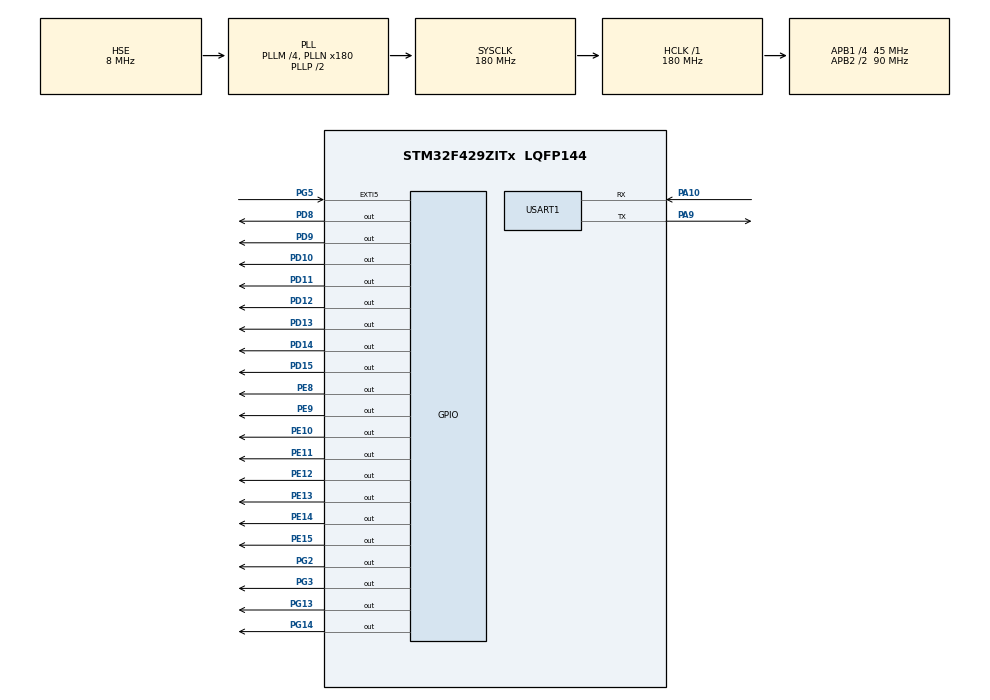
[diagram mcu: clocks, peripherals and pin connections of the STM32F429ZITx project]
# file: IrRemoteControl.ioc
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Mcu.Family=STM32F4
Mcu.Name=STM32F429ZITx
Mcu.Package=LQFP144
NVIC.EXTI9_5_IRQn=true\:0\:0\:false\:false\:true\:true\:true\:true
NVIC.PriorityGroup=NVIC_PRIORITYGROUP_4
NVIC.TIM6_DAC_IRQn=true\:0\:0\:false\:false\:true\:true\:true\:true
PA10.Mode=Asynchronous
PA10.Signal=USART1_RX
PA9.Mode=Asynchronous
PA9.Signal=USART1_TX
PD10.Signal=GPIO_Output
PD11.Signal=GPIO_Output
PD12.Signal=GPIO_Output
PD13.Signal=GPIO_Output
PD14.Signal=GPIO_Output
PD15.Signal=GPIO_Output
PD8.Signal=GPIO_Output
PD9.Signal=GPIO_Output
PE10.Signal=GPIO_Output
PE11.Signal=GPIO_Output
PE12.Signal=GPIO_Output
PE13.Signal=GPIO_Output
PE14.Signal=GPIO_Output
PE15.Signal=GPIO_Output
PE8.Signal=GPIO_Output
PE9.Signal=GPIO_Output
PG13.Signal=GPIO_Output
PG14.Signal=GPIO_Output
PG2.Signal=GPIO_Output
PG3.Signal=GPIO_Output
PG5.GPIO_ModeDefaultEXTI=GPIO_MODE_IT_FALLING
PG5.GPIO_PuPd=GPIO_PULLUP
PG5.Signal=GPXTI5
PH0/OSC_IN.Mode=HSE-External-Oscillator
PH0/OSC_IN.Signal=RCC_OSC_IN
PH1/OSC_OUT.Mode=HSE-External-Oscillator
PH1/OSC_OUT.Signal=RCC_OSC_OUT
ProjectManager.HeapSize=0x200
ProjectManager.StackSize=0x400
ProjectManager.TargetToolchain=STM32CubeIDE
RCC.48MHZClocksFreq_Value=90000000
RCC.AHBFreq_Value=180000000
RCC.APB1CLKDivider=RCC_HCLK_DIV4
RCC.APB1Freq_Value=45000000
RCC.APB1TimFreq_Value=90000000
RCC.APB2CLKDivider=RCC_HCLK_DIV2
RCC.APB2Freq_Value=90000000
RCC.APB2TimFreq_Value=180000000
RCC.CortexFreq_Value=180000000
RCC.HCLKFreq_Value=180000000
RCC.HSE_VALUE=8000000
RCC.HSI_VALUE=16000000
RCC.LSE_VALUE=32768
RCC.PLLM=4
RCC.PLLN=180
RCC.PLLSourceVirtual=RCC_PLLSOURCE_HSE
RCC.SYSCLKFreq_VALUE=180000000
RCC.SYSCLKSource=RCC_SYSCLKSOURCE_PLLCLK
RCC.VCOOutputFreq_Value=360000000
TIM6.Period=99
TIM6.Prescaler=89
USART1.VirtualMode=VM_ASYNC
VP_TIM6_VS_ClockSourceINT.Mode=Enable_Timer
board=custom

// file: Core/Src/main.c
/* USER CODE BEGIN Header */
/**
  ******************************************************************************
  * @file           : main.c
  * @brief          : Main program body
  ******************************************************************************
  * @attention
  *
  * Copyright (c) 2025 STMicroelectronics.
  * All rights reserved.
  *
  * This software is licensed under terms that can be found in the LICENSE file
  * in the root directory of this software component.
  * If no LICENSE file comes with this software, it is provided AS-IS.
  *
  ******************************************************************************
  */
/* USER CODE END Header */
#include "main.h"

/* USER CODE BEGIN Includes */
#include "irda.h"
#include "stdio.h"
#include "string.h"
#include "7seg.h"

/* USER CODE END Includes */

TIM_HandleTypeDef htim6;

UART_HandleTypeDef huart1;

/* USER CODE BEGIN PV */
int tim6_count;
unsigned char LED_Value =1;
extern unsigned char send;
/* USER CODE END PV */

void SystemClock_Config(void);
static void MX_GPIO_Init(void);
static void MX_TIM6_Init(void);
static void MX_USART1_UART_Init(void);

/* USER CODE BEGIN 0 */
extern int command_ok;
extern unsigned char irda_cmd[4];
/* USER CODE END 0 */

void DisplayLEDsRaw(){
	if (LED_Value & 0x80)
		HAL_GPIO_WritePin(GPIOD, GPIO_PIN_15, GPIO_PIN_SET);
	else
		HAL_GPIO_WritePin(GPIOD, GPIO_PIN_15, GPIO_PIN_RESET);
	if (LED_Value & 0x40)
		HAL_GPIO_WritePin(GPIOD, GPIO_PIN_14, GPIO_PIN_SET);
	else
		HAL_GPIO_WritePin(GPIOD, GPIO_PIN_14, GPIO_PIN_RESET);
	if (LED_Value & 0x20)
		HAL_GPIO_WritePin(GPIOD, GPIO_PIN_13, GPIO_PIN_SET);
	else
		HAL_GPIO_WritePin(GPIOD, GPIO_PIN_13, GPIO_PIN_RESET);
	if (LED_Value & 0x10)
		HAL_GPIO_WritePin(GPIOD, GPIO_PIN_12, GPIO_PIN_SET);
	else
		HAL_GPIO_WritePin(GPIOD, GPIO_PIN_12, GPIO_PIN_RESET);
	if (LED_Value & 0x8)
		HAL_GPIO_WritePin(GPIOD, GPIO_PIN_11, GPIO_PIN_SET);
	else
		HAL_GPIO_WritePin(GPIOD, GPIO_PIN_11, GPIO_PIN_RESET);
	if (LED_Value & 0x4)
		HAL_GPIO_WritePin(GPIOD, GPIO_PIN_10, GPIO_PIN_SET);
	else
		HAL_GPIO_WritePin(GPIOD, GPIO_PIN_10, GPIO_PIN_RESET);
	if (LED_Value & 0x2)
		HAL_GPIO_WritePin(GPIOD, GPIO_PIN_9, GPIO_PIN_SET);
	else
		HAL_GPIO_WritePin(GPIOD, GPIO_PIN_9, GPIO_PIN_RESET);
	if (LED_Value & 0x1)
		HAL_GPIO_WritePin(GPIOD, GPIO_PIN_8, GPIO_PIN_SET);
	else
		HAL_GPIO_WritePin(GPIOD, GPIO_PIN_8, GPIO_PIN_RESET);
}

void DisplayLEDs(int mode)
{
	switch (mode){
		case 1:
			LED_Value = (LED_Value >> 1);
			if (LED_Value == 0) LED_Value = 0x80;
			break;

		case 2:
			LED_Value = (LED_Value << 1);
			if (LED_Value == 0) LED_Value = 0x01;
			break;

		case 3:
		{	LED_Value = 1;

			static int flash_step = 0;
			if (flash_step % 2 == 0)
				LED_Value = 0xFF;
			else
				LED_Value = 0x00;

			DisplayLEDsRaw();
			HAL_Delay(200);
			flash_step++;

			if (flash_step >= 4) {
				flash_step = 0;
			}
			return;
		}

		case 4:
		{
			LED_Value = 1;

			static int bumper_step = 0;
			uint8_t patterns[] = {
					0b10000001,
					0b01000010,
					0b00100100,
					0b00011000,
					0b00100100,
					0b01000010,
					0b10000001
					};

			LED_Value = patterns[bumper_step++];
			if (bumper_step >= sizeof(patterns)) bumper_step = 0;
			break;
		}
	}

	DisplayLEDsRaw();
}

int main(void)
{

  /* MCU Configuration--------------------------------------------------------*/

  /* Reset of all peripherals, Initializes the Flash interface and the Systick. */
  HAL_Init();

  /* Configure the system clock */
  SystemClock_Config();

  /* Initialize all configured peripherals */
  MX_GPIO_Init();
  MX_TIM6_Init();
  MX_USART1_UART_Init();
  /* USER CODE BEGIN 2 */
  HAL_TIM_Base_Start_IT(&htim6);
  command_ok = 0;
  tim6_count = 0;

  /* USER CODE END 2 */

  /* Infinite loop */
  /* USER CODE BEGIN WHILE */
  while (1)
  {
	  //turn off 2 LEDs
	  HAL_GPIO_TogglePin(GPIOG, GPIO_PIN_13);
	  //delay
	  HAL_Delay(5);

	  if (command_ok)
	  {
		  char buf[256];
		  IrDecode();
		  sprintf(buf, "%02x%02x%02x%02x\n", irda_cmd[0], irda_cmd[1], irda_cmd[2], irda_cmd[3]);
		  HAL_UART_Transmit(&huart1, (const uint8_t *)buf, strlen(buf), 2);
		  command_ok = 0;
	  }

	  send =irda_cmd[2];

	  Run7SegDisplay();

    /* USER CODE END WHILE */

	  static int current_mode = 0;
	  static int repeat_count = 0;

	  switch(irda_cmd[2]) {
	  	case 0x45:  // Mode 1
	  		if (current_mode != 1) {
	  			current_mode = 1;
	  			LED_Value = 0x80; // start from left
	  		}
	  		break;

	  	case 0x46:  // Mode 2
	  		if (current_mode != 2) {
	  			current_mode = 2;
	  			LED_Value = 0x01; // start from right
	  		}
	  		break;

	  	case 0x47:  // Mode 3 (Blink)
	  		if (current_mode != 3) {
	  			current_mode = 3;
	  		}
	  		break;

	  	case 0x44:  // Mode 4 (Bumper)
	  		if (current_mode != 4) {
	  			current_mode = 4;
	  		}
	  		break;
	  }
	  DisplayLEDs(current_mode);
	  HAL_Delay(100);  // control animation speed

//	  Set7SegHexByte(send);

  }
}

void SystemClock_Config(void)
{
  RCC_OscInitTypeDef RCC_OscInitStruct = {0};
  RCC_ClkInitTypeDef RCC_ClkInitStruct = {0};

  /** Configure the main internal regulator output voltage
  */
  __HAL_RCC_PWR_CLK_ENABLE();
  __HAL_PWR_VOLTAGESCALING_CONFIG(PWR_REGULATOR_VOLTAGE_SCALE1);

  /** Initializes the RCC Oscillators according to the specified parameters
  * in the RCC_OscInitTypeDef structure.
  */
  RCC_OscInitStruct.OscillatorType = RCC_OSCILLATORTYPE_HSE;
  RCC_OscInitStruct.HSEState = RCC_HSE_ON;
  RCC_OscInitStruct.PLL.PLLState = RCC_PLL_ON;
  RCC_OscInitStruct.PLL.PLLSource = RCC_PLLSOURCE_HSE;
  RCC_OscInitStruct.PLL.PLLM = 4;
  RCC_OscInitStruct.PLL.PLLN = 180;
  RCC_OscInitStruct.PLL.PLLP = RCC_PLLP_DIV2;
  RCC_OscInitStruct.PLL.PLLQ = 4;
  if (HAL_RCC_OscConfig(&RCC_OscInitStruct) != HAL_OK)
  {
    Error_Handler();
  }

  /** Activate the Over-Drive mode
  */
  if (HAL_PWREx_EnableOverDrive() != HAL_OK)
  {
    Error_Handler();
  }

  /** Initializes the CPU, AHB and APB buses clocks
  */
  RCC_ClkInitStruct.ClockType = RCC_CLOCKTYPE_HCLK|RCC_CLOCKTYPE_SYSCLK
                              |RCC_CLOCKTYPE_PCLK1|RCC_CLOCKTYPE_PCLK2;
  RCC_ClkInitStruct.SYSCLKSource = RCC_SYSCLKSOURCE_PLLCLK;
  RCC_ClkInitStruct.AHBCLKDivider = RCC_SYSCLK_DIV1;
  RCC_ClkInitStruct.APB1CLKDivider = RCC_HCLK_DIV4;
  RCC_ClkInitStruct.APB2CLKDivider = RCC_HCLK_DIV2;

  if (HAL_RCC_ClockConfig(&RCC_ClkInitStruct, FLASH_LATENCY_5) != HAL_OK)
  {
    Error_Handler();
  }
}

static void MX_TIM6_Init(void)
{

  TIM_MasterConfigTypeDef sMasterConfig = {0};

  htim6.Instance = TIM6;
  htim6.Init.Prescaler = 89;
  htim6.Init.CounterMode = TIM_COUNTERMODE_UP;
  htim6.Init.Period = 99;
  htim6.Init.AutoReloadPreload = TIM_AUTORELOAD_PRELOAD_DISABLE;
  if (HAL_TIM_Base_Init(&htim6) != HAL_OK)
  {
    Error_Handler();
  }
  sMasterConfig.MasterOutputTrigger = TIM_TRGO_RESET;
  sMasterConfig.MasterSlaveMode = TIM_MASTERSLAVEMODE_DISABLE;
  if (HAL_TIMEx_MasterConfigSynchronization(&htim6, &sMasterConfig) != HAL_OK)
  {
    Error_Handler();
  }

}

static void MX_USART1_UART_Init(void)
{

  huart1.Instance = USART1;
  huart1.Init.BaudRate = 115200;
  huart1.Init.WordLength = UART_WORDLENGTH_8B;
  huart1.Init.StopBits = UART_STOPBITS_1;
  huart1.Init.Parity = UART_PARITY_NONE;
  huart1.Init.Mode = UART_MODE_TX_RX;
  huart1.Init.HwFlowCtl = UART_HWCONTROL_NONE;
  huart1.Init.OverSampling = UART_OVERSAMPLING_16;
  if (HAL_UART_Init(&huart1) != HAL_OK)
  {
    Error_Handler();
  }

}

static void MX_GPIO_Init(void)
{
  GPIO_InitTypeDef GPIO_InitStruct = {0};

  /* GPIO Ports Clock Enable */
  __HAL_RCC_GPIOH_CLK_ENABLE();
  __HAL_RCC_GPIOE_CLK_ENABLE();
  __HAL_RCC_GPIOD_CLK_ENABLE();
  __HAL_RCC_GPIOG_CLK_ENABLE();
  __HAL_RCC_GPIOA_CLK_ENABLE();

  /*Configure GPIO pin Output Level */
  HAL_GPIO_WritePin(GPIOE, GPIO_PIN_8|GPIO_PIN_9|GPIO_PIN_10|GPIO_PIN_11
                          |GPIO_PIN_12|GPIO_PIN_13|GPIO_PIN_14|GPIO_PIN_15, GPIO_PIN_RESET);

  /*Configure GPIO pin Output Level */
  HAL_GPIO_WritePin(GPIOD, GPIO_PIN_8|GPIO_PIN_9|GPIO_PIN_10|GPIO_PIN_11
                          |GPIO_PIN_12|GPIO_PIN_13|GPIO_PIN_14|GPIO_PIN_15, GPIO_PIN_RESET);

  /*Configure GPIO pin Output Level */
  HAL_GPIO_WritePin(GPIOG, GPIO_PIN_2|GPIO_PIN_3|GPIO_PIN_13|GPIO_PIN_14, GPIO_PIN_RESET);

  /*Configure GPIO pins : PE8 PE9 PE10 PE11
                           PE12 PE13 PE14 PE15 */
  GPIO_InitStruct.Pin = GPIO_PIN_8|GPIO_PIN_9|GPIO_PIN_10|GPIO_PIN_11
                          |GPIO_PIN_12|GPIO_PIN_13|GPIO_PIN_14|GPIO_PIN_15;
  GPIO_InitStruct.Mode = GPIO_MODE_OUTPUT_PP;
  GPIO_InitStruct.Pull = GPIO_NOPULL;
  GPIO_InitStruct.Speed = GPIO_SPEED_FREQ_LOW;
  HAL_GPIO_Init(GPIOE, &GPIO_InitStruct);

  /*Configure GPIO pins : PD8 PD9 PD10 PD11
                           PD12 PD13 PD14 PD15 */
  GPIO_InitStruct.Pin = GPIO_PIN_8|GPIO_PIN_9|GPIO_PIN_10|GPIO_PIN_11
                          |GPIO_PIN_12|GPIO_PIN_13|GPIO_PIN_14|GPIO_PIN_15;
  GPIO_InitStruct.Mode = GPIO_MODE_OUTPUT_PP;
  GPIO_InitStruct.Pull = GPIO_NOPULL;
  GPIO_InitStruct.Speed = GPIO_SPEED_FREQ_LOW;
  HAL_GPIO_Init(GPIOD, &GPIO_InitStruct);

  /*Configure GPIO pins : PG2 PG3 PG13 PG14 */
  GPIO_InitStruct.Pin = GPIO_PIN_2|GPIO_PIN_3|GPIO_PIN_13|GPIO_PIN_14;
  GPIO_InitStruct.Mode = GPIO_MODE_OUTPUT_PP;
  GPIO_InitStruct.Pull = GPIO_NOPULL;
  GPIO_InitStruct.Speed = GPIO_SPEED_FREQ_LOW;
  HAL_GPIO_Init(GPIOG, &GPIO_InitStruct);

  /*Configure GPIO pin : PG5 */
  GPIO_InitStruct.Pin = GPIO_PIN_5;
  GPIO_InitStruct.Mode = GPIO_MODE_IT_FALLING;
  GPIO_InitStruct.Pull = GPIO_PULLUP;
  HAL_GPIO_Init(GPIOG, &GPIO_InitStruct);

  /* EXTI interrupt init*/
  HAL_NVIC_SetPriority(EXTI9_5_IRQn, 0, 0);
  HAL_NVIC_EnableIRQ(EXTI9_5_IRQn);

}

void Error_Handler(void)
{
  __disable_irq();
  while (1)
  {
  }
}
